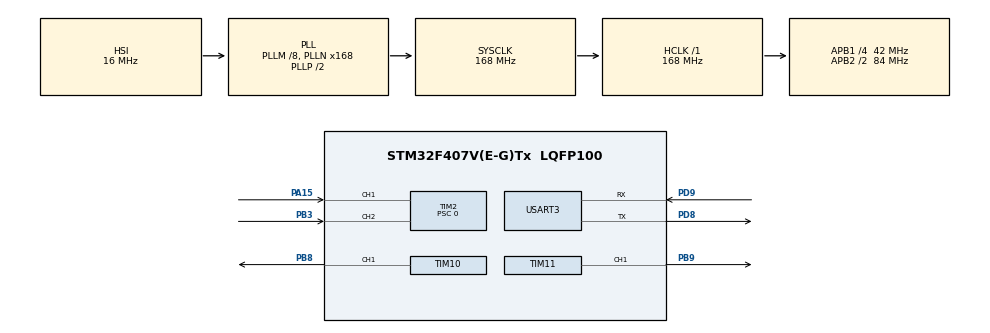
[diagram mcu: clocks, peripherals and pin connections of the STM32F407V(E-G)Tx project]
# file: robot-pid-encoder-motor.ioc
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Mcu.Family=STM32F4
Mcu.Name=STM32F407V(E-G)Tx
Mcu.Package=LQFP100
NVIC.PriorityGroup=NVIC_PRIORITYGROUP_4
NVIC.TIM2_IRQn=true\:0\:0\:false\:false\:true\:true\:true\:true
NVIC.TIM6_DAC_IRQn=true\:0\:0\:false\:false\:true\:true\:true\:true
PA13.Mode=Serial_Wire
PA13.Signal=SYS_JTMS-SWDIO
PA14.Mode=Serial_Wire
PA14.Signal=SYS_JTCK-SWCLK
PA15.Signal=S_TIM2_CH1_ETR
PB3.Signal=S_TIM2_CH2
PB8.Signal=S_TIM10_CH1
PB9.Signal=S_TIM11_CH1
PD8.Mode=Asynchronous
PD8.Signal=USART3_TX
PD9.Mode=Asynchronous
PD9.Signal=USART3_RX
PH0-OSC_IN.Mode=HSE-External-Oscillator
PH0-OSC_IN.Signal=RCC_OSC_IN
PH1-OSC_OUT.Mode=HSE-External-Oscillator
PH1-OSC_OUT.Signal=RCC_OSC_OUT
ProjectManager.HeapSize=0x200
ProjectManager.StackSize=0x400
ProjectManager.TargetToolchain=Makefile
RCC.48MHZClocksFreq_Value=84000000
RCC.AHBFreq_Value=168000000
RCC.APB1CLKDivider=RCC_HCLK_DIV4
RCC.APB1Freq_Value=42000000
RCC.APB1TimFreq_Value=84000000
RCC.APB2CLKDivider=RCC_HCLK_DIV2
RCC.APB2Freq_Value=84000000
RCC.APB2TimFreq_Value=168000000
RCC.CortexFreq_Value=168000000
RCC.HCLKFreq_Value=168000000
RCC.HSE_VALUE=25000000
RCC.HSI_VALUE=16000000
RCC.LSE_VALUE=32768
RCC.PLLM=8
RCC.PLLN=168
RCC.SYSCLKFreq_VALUE=168000000
RCC.SYSCLKSource=RCC_SYSCLKSOURCE_PLLCLK
RCC.VCOOutputFreq_Value=336000000
SH.S_TIM10_CH1.0=TIM10_CH1,PWM Generation1 CH1
SH.S_TIM11_CH1.0=TIM11_CH1,PWM Generation1 CH1
SH.S_TIM2_CH1_ETR.0=TIM2_CH1,Encoder_Interface
SH.S_TIM2_CH2.0=TIM2_CH2,Encoder_Interface
TIM10.Channel=TIM_CHANNEL_1
TIM10.OCPolarity_1=TIM_OCPOLARITY_LOW
TIM10.Period=49
TIM10.Prescaler=167
TIM11.Channel=TIM_CHANNEL_1
TIM11.OCPolarity_1=TIM_OCPOLARITY_LOW
TIM11.Period=49
TIM11.Prescaler=167
TIM2.EncoderMode=TIM_ENCODERMODE_TI12
TIM2.Prescaler=0
TIM6.AutoReloadPreload=TIM_AUTORELOAD_PRELOAD_DISABLE
TIM6.Period=99
TIM6.Prescaler=16799
USART3.VirtualMode=VM_ASYNC
VP_TIM10_VS_ClockSourceINT.Mode=Enable_Timer
VP_TIM11_VS_ClockSourceINT.Mode=Enable_Timer
VP_TIM6_VS_ClockSourceINT.Mode=Enable_Timer
board=custom

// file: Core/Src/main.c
/* USER CODE BEGIN Header */
/**
  ******************************************************************************
  * @file           : main.c
  * @brief          : Main program body
  ******************************************************************************
  * @attention
  *
  * Copyright (c) 2025 STMicroelectronics.
  * All rights reserved.
  *
  * This software is licensed under terms that can be found in the LICENSE file
  * in the root directory of this software component.
  * If no LICENSE file comes with this software, it is provided AS-IS.
  *
  ******************************************************************************
  */
/* USER CODE END Header */
#include "main.h"
#include "tim.h"
#include "usart.h"
#include "gpio.h"

/* USER CODE BEGIN Includes */
#include "encodermotor.h"  // Adjusted path to locate the header file
#include "stdio.h"
/* USER CODE END Includes */

/* USER CODE BEGIN PD */
int _write(int file, char *data, int len)
{
    HAL_UART_Transmit(&huart3, (uint8_t*)data, len, HAL_MAX_DELAY);
    return len;
}
/* USER CODE END PD */

void SystemClock_Config(void);

int main(void)
{

  /* MCU Configuration--------------------------------------------------------*/

  /* Reset of all peripherals, Initializes the Flash interface and the Systick. */
  HAL_Init();

  /* Configure the system clock */
  SystemClock_Config();

  /* Initialize all configured peripherals */
  MX_GPIO_Init();
  MX_TIM2_Init();
  MX_TIM10_Init();
  MX_TIM11_Init();
  MX_USART3_UART_Init();
  MX_TIM6_Init();
  /* USER CODE BEGIN 2 */
  Motor_Init(&Motor_A);
  Motor_Encoder_Init(&Motor_A);

  int16_t encoder= 0;
int last_cnt = 0;
    Motor_A.target_rpm = 20.0f;  // 假设目标速度为 100 RPM
  /* USER CODE END 2 */

  /* Infinite loop */
  /* USER CODE BEGIN WHILE */
  while (1)
  {

  /*正反转测试*/
   Motor_SetPWM(&Motor_A, 100);
   HAL_Delay(2000);
   Motor_SetPWM(&Motor_A, -100);
   HAL_Delay(2000);

  /*编码器数值读取测试*/

  // int curr_cnt = __HAL_TIM_GET_COUNTER(&htim2);  // 假设你用的是 TIM3
  //    if (curr_cnt != last_cnt) {
  //        printf("CNT = %d\r\n", curr_cnt);
  //        last_cnt = curr_cnt;
  //    }
  /*串口测试和重定向串口测试*/
    // printf("hello world\r\n");
    // HAL_UART_Transmit(&huart3, (uint8_t *)"Hello World\r\n", strlen("Hello World\r\n"), HAL_MAX_DELAY);

    /*编码器电机的pid速度测试*/

    // 设置目标速度

    // 调用 PID 控制
    // Motor_PID_Control(&Motor_A);

    // 延时，模拟采样时间
    //HAL_Delay(100);  // 采样时间与 SAMPLE_TIME_S 对应

    /* USER CODE END WHILE */

  }
}

void SystemClock_Config(void)
{
  RCC_OscInitTypeDef RCC_OscInitStruct = {0};
  RCC_ClkInitTypeDef RCC_ClkInitStruct = {0};

  /** Configure the main internal regulator output voltage
  */
  __HAL_RCC_PWR_CLK_ENABLE();
  __HAL_PWR_VOLTAGESCALING_CONFIG(PWR_REGULATOR_VOLTAGE_SCALE1);

  /** Initializes the RCC Oscillators according to the specified parameters
  * in the RCC_OscInitTypeDef structure.
  */
  RCC_OscInitStruct.OscillatorType = RCC_OSCILLATORTYPE_HSI;
  RCC_OscInitStruct.HSIState = RCC_HSI_ON;
  RCC_OscInitStruct.HSICalibrationValue = RCC_HSICALIBRATION_DEFAULT;
  RCC_OscInitStruct.PLL.PLLState = RCC_PLL_ON;
  RCC_OscInitStruct.PLL.PLLSource = RCC_PLLSOURCE_HSI;
  RCC_OscInitStruct.PLL.PLLM = 8;
  RCC_OscInitStruct.PLL.PLLN = 168;
  RCC_OscInitStruct.PLL.PLLP = RCC_PLLP_DIV2;
  RCC_OscInitStruct.PLL.PLLQ = 4;
  if (HAL_RCC_OscConfig(&RCC_OscInitStruct) != HAL_OK)
  {
    Error_Handler();
  }

  /** Initializes the CPU, AHB and APB buses clocks
  */
  RCC_ClkInitStruct.ClockType = RCC_CLOCKTYPE_HCLK|RCC_CLOCKTYPE_SYSCLK
                              |RCC_CLOCKTYPE_PCLK1|RCC_CLOCKTYPE_PCLK2;
  RCC_ClkInitStruct.SYSCLKSource = RCC_SYSCLKSOURCE_PLLCLK;
  RCC_ClkInitStruct.AHBCLKDivider = RCC_SYSCLK_DIV1;
  RCC_ClkInitStruct.APB1CLKDivider = RCC_HCLK_DIV4;
  RCC_ClkInitStruct.APB2CLKDivider = RCC_HCLK_DIV2;

  if (HAL_RCC_ClockConfig(&RCC_ClkInitStruct, FLASH_LATENCY_5) != HAL_OK)
  {
    Error_Handler();
  }
}

/* USER CODE BEGIN 4 */
void HAL_TIM_PeriodElapsedCallback(TIM_HandleTypeDef *htim)
{
    if (htim->Instance == TIM6)  // 这里判断是 TIM6
    {
      Motor_Encoder_SpeedUpdate(&Motor_A);
    }
}

/* USER CODE END 4 */

void Error_Handler(void)
{
  __disable_irq();
  while (1)
  {
  }
}
